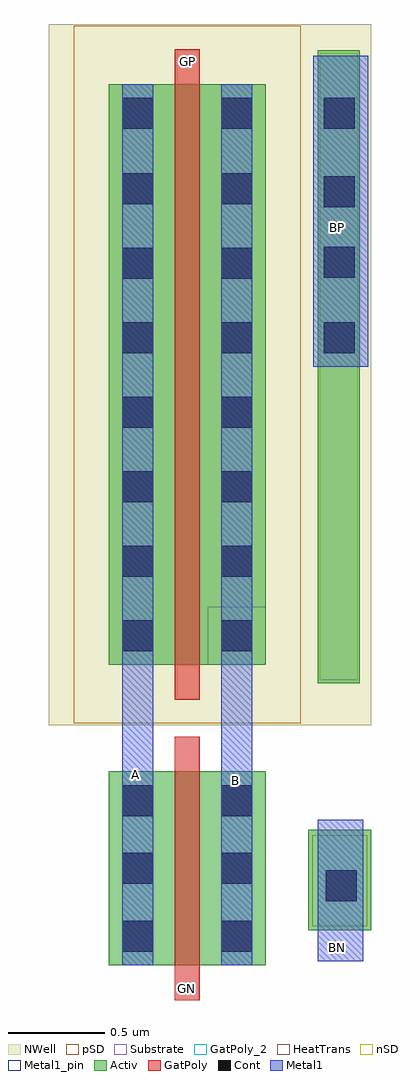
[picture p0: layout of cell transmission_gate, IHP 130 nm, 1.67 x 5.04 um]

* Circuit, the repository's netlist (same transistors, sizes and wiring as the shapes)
** sch_path: /home/designer/shared/MIE955_202602/xschem/Proyecto/klayout/transmission_gate.sch
.subckt transmission_gate B GN A GP BN BP
*.PININFO B:B GN:B A:B GP:B BN:B BP:B
MM1 A GN B BN sg13_lv_nmos w=1u l=0.13u ng=1 m=1
MM2 A GP B BP sg13_lv_pmos w=3u l=0.13u ng=1 m=1
.ends

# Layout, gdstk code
import gdstk
lib = gdstk.Library(unit=1e-6, precision=1e-09)
def R(c, l, rs):  # rectangles x0, y0, x1, y1
    for r in rs: c.add(gdstk.rectangle(r[:2], r[2:], *l))
def A(c, l, x, y, w, h, nx, ny, dx, dy):  # array of equal rectangles
    R(c, l, [(x+i*dx, y+j*dy, x+i*dx+w, y+j*dy+h) for i in range(nx) for j in range(ny)])
Activ = (1, 0)
GatPoly = (5, 0)
GatPoly_2 = (5, 2)
Cont = (6, 0)
nSD = (7, 0)
Metal1 = (8, 0)
Metal1_pin = (8, 2)
pSD = (14, 0)
NWell = (31, 0)
Substrate = (40, 0)
HeatTrans = (51, 0)

nmos_1 = lib.new_cell('nmos$1')
R(nmos_1, Activ, [(0,0,0.3,0.3), (0,0,0.81,1), (0.51,0,0.81,0.3)])
R(nmos_1, GatPoly, [(0.34,-0.18,0.47,1.18)])
R(nmos_1, GatPoly_2, [(0.34,-0.18,0.47,1.18)])
A(nmos_1, Cont, 0.07, 0.07, 0.16, 0.16, 1, 3, 0, 0.35)
A(nmos_1, Cont, 0.58, 0.07, 0.16, 0.16, 1, 3, 0, 0.35)
R(nmos_1, Metal1, [(0.07,0,0.23,1), (0.58,0,0.74,1)])
R(nmos_1, Metal1_pin, [(0.07,0,0.23,1), (0.58,0,0.74,1)])
R(nmos_1, HeatTrans, [(0.34,-0.18,0.47,1.18)])
nmos_1.add(gdstk.Label('nmos', (0.405,0.5), layer=63, texttype=0))
nmos_1.add(gdstk.Label('nmos', (0.405,0.5), layer=51, texttype=0))

pmos_1 = lib.new_cell('pmos$1')
R(pmos_1, Activ, [(0,0,0.3,0.3), (0,0,0.81,3), (0.51,0,0.81,0.3)])
R(pmos_1, GatPoly, [(0.34,-0.18,0.47,3.18), (0.34,-0.18,0.47,3.18)])
A(pmos_1, Cont, 0.07, 0.07, 0.16, 0.16, 1, 7, 0, 0.385)
A(pmos_1, Cont, 0.58, 0.07, 0.16, 0.16, 1, 7, 0, 0.385)
R(pmos_1, Cont, [(0.07,2.77,0.23,2.93), (0.58,2.77,0.74,2.93)])
R(pmos_1, Metal1, [(0.07,0,0.23,3), (0.07,0,0.23,3), (0.58,0,0.74,3), (0.58,0,0.74,3)])
R(pmos_1, pSD, [(-0.18,-0.3,0.99,3.3)])
R(pmos_1, NWell, [(-0.31,-0.31,1.12,3.31)])
R(pmos_1, Substrate, [(0.51,0,0.81,0.3)])
R(pmos_1, HeatTrans, [(0.34,-0.18,0.47,3.18)])
pmos_1.add(gdstk.Label('pmos', (0.405,1.5), layer=63, texttype=0))
pmos_1.add(gdstk.Label('pmos', (0.405,1.5), layer=51, texttype=0))

sg13g2_inv_2 = lib.new_cell('sg13g2_inv_2')

transmission_gate = lib.new_cell('transmission_gate')
R(transmission_gate, Activ, [(0.62,0.525,0.945,1.045), (0.67,1.8,0.885,5.07)])
R(transmission_gate, GatPoly, [(-0.07,1.01,0.06,1.525)])
R(transmission_gate, Cont, [(0.71,0.675,0.87,0.835), (0.7,3.505,0.86,3.665), (0.7,3.895,0.86,4.055), (0.7,4.26,0.86,4.42), (0.7,4.665,0.86,4.825)])
R(transmission_gate, nSD, [(0.68,1.815,0.875,5.055)])
R(transmission_gate, Metal1, [(0.67,0.365,0.905,1.095), (-0.34,1.015,-0.18,1.895), (0.17,1.015,0.33,1.895), (0.645,3.435,0.93,5.04)])
R(transmission_gate, pSD, [(0.64,0.545,0.925,1.015)])
R(transmission_gate, NWell, [(0.71,1.585,0.945,5.205)])
transmission_gate.add(gdstk.Reference(nmos_1, (-0.41,0.345)))
transmission_gate.add(gdstk.Reference(pmos_1, (-0.41,1.895)))
transmission_gate.add(gdstk.Reference(sg13g2_inv_2, (2.15,0.715)))
transmission_gate.add(gdstk.Label('B', (0.245,1.3), layer=8, texttype=2))
transmission_gate.add(gdstk.Label('A', (-0.27,1.33), layer=8, texttype=2))
transmission_gate.add(gdstk.Label('BP', (0.77,4.155), layer=8, texttype=2))
transmission_gate.add(gdstk.Label('BN', (0.77,0.435), layer=8, texttype=2))
transmission_gate.add(gdstk.Label('GN', (-0.01,0.225), layer=5, texttype=2))
transmission_gate.add(gdstk.Label('GP', (-0.005,5.01), layer=5, texttype=2))

lib.write_gds('transmission_gate.gds')
